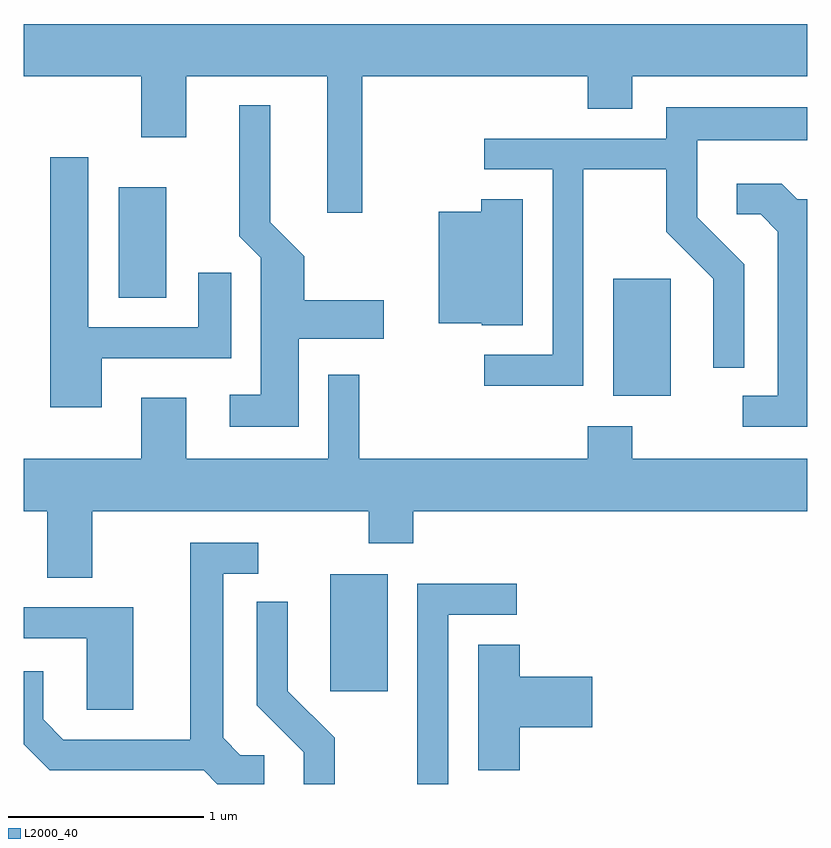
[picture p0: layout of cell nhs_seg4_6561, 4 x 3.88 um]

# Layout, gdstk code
import gdstk
lib = gdstk.Library(unit=1e-6, precision=1e-09)
def R(c, l, rs):  # rectangles x0, y0, x1, y1
    for r in rs: c.add(gdstk.rectangle(r[:2], r[2:], *l))
def P(c, l, *ps):  # polygons
    for p in ps: c.add(gdstk.Polygon(p, *l))
L2000_40 = (2000, 40)

nhs_seg4_6561 = lib.new_cell('nhs_seg4_6561')
R(nhs_seg4_6561, L2000_40, [(379.176,1320.456,379.469,1321.054), (380.621,1321.966,380.914,1322.564), (378.096,1322.466,378.339,1323.029)])
P(nhs_seg4_6561, L2000_40, [(379.339,1323.596),(380.491,1323.596),(380.491,1323.431),(380.719,1323.431),(380.719,1323.596),(381.611,1323.596),(381.611,1323.864),(377.611,1323.864),(377.611,1323.596),(378.211,1323.596),(378.211,1323.286),(378.439,1323.286),(378.439,1323.596),(379.161,1323.596),(379.161,1322.901),(379.339,1322.901)],
  [(379.014,1322.256),(379.449,1322.256),(379.449,1322.454),(379.044,1322.454),(379.044,1322.677),(378.869,1322.852),(378.869,1323.448),(378.711,1323.448),(378.711,1322.779),(378.821,1322.669),(378.821,1321.969),(378.663,1321.969),(378.663,1321.806),(379.014,1321.806)],
  [(380.469,1323.121),(380.891,1323.121),(380.891,1322.804),(381.131,1322.564),(381.131,1322.108),(381.289,1322.108),(381.289,1322.637),(381.049,1322.877),(381.049,1323.271),(381.611,1323.271),(381.611,1323.439),(380.891,1323.439),(380.891,1323.279),(379.963,1323.279),(379.963,1323.121),(380.311,1323.121),(380.311,1322.174),(379.963,1322.174),(379.963,1322.016),(380.469,1322.016)],
  [(378.009,1322.156),(378.669,1322.156),(378.669,1322.593),(378.501,1322.593),(378.501,1322.314),(377.939,1322.314),(377.939,1323.184),(377.746,1323.184),(377.746,1321.906),(378.009,1321.906)],
  [(381.611,1322.969),(381.562,1322.969),(381.482,1323.049),(381.253,1323.049),(381.253,1322.891),(381.374,1322.891),(381.461,1322.804),(381.461,1321.964),(381.283,1321.964),(381.283,1321.806),(381.611,1321.806)],
  [(380.159,1322.969),(379.946,1322.969),(379.946,1322.904),(379.731,1322.904),(379.731,1322.336),(379.95,1322.336),(379.95,1322.326),(380.159,1322.326)],
  [(377.959,1321.376),(379.371,1321.376),(379.371,1321.211),(379.599,1321.211),(379.599,1321.376),(381.611,1321.376),(381.611,1321.644),(380.719,1321.644),(380.719,1321.809),(380.491,1321.809),(380.491,1321.644),(379.324,1321.644),(379.324,1322.073),(379.166,1322.073),(379.166,1321.644),(378.439,1321.644),(378.439,1321.954),(378.211,1321.954),(378.211,1321.644),(377.611,1321.644),(377.611,1321.376),(377.731,1321.376),(377.731,1321.036),(377.959,1321.036)],
  [(378.838,1320.129),(378.717,1320.129),(378.629,1320.217),(378.629,1321.056),(378.808,1321.056),(378.808,1321.214),(378.461,1321.214),(378.461,1320.209),(377.812,1320.209),(377.709,1320.312),(377.709,1320.558),(377.611,1320.558),(377.611,1320.184),(377.744,1320.051),(378.529,1320.051),(378.598,1319.982),(378.838,1319.982)],
  [(379.779,1320.846),(380.128,1320.846),(380.128,1321.004),(379.621,1321.004),(379.621,1319.982),(379.779,1319.982)],
  [(379.199,1320.217),(378.959,1320.457),(378.959,1320.913),(378.801,1320.913),(378.801,1320.384),(379.041,1320.144),(379.041,1319.982),(379.199,1319.982)],
  [(378.169,1320.884),(377.611,1320.884),(377.611,1320.726),(377.931,1320.726),(377.931,1320.361),(378.169,1320.361)],
  [(380.144,1320.271),(380.514,1320.271),(380.514,1320.529),(380.144,1320.529),(380.144,1320.694),(379.931,1320.694),(379.931,1320.051),(380.144,1320.051)])

lib.write_gds('nhs_seg4_6561.gds')
